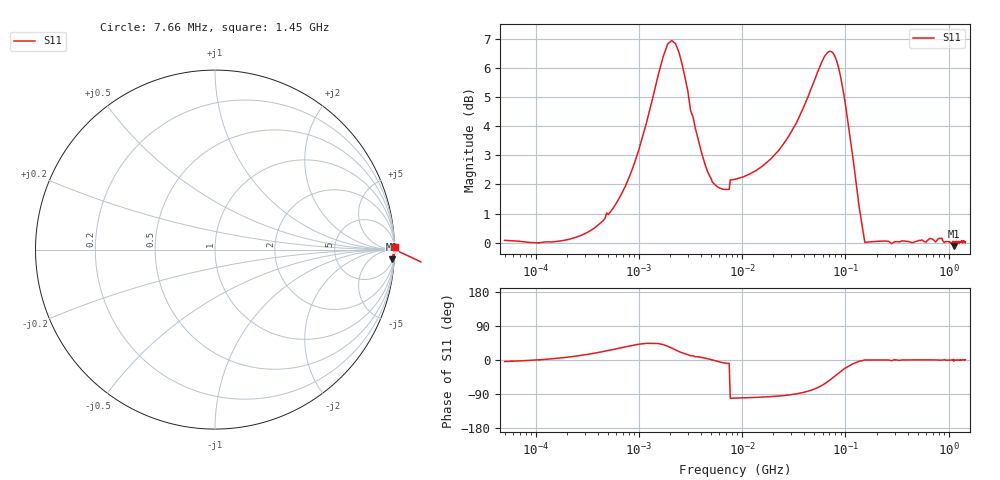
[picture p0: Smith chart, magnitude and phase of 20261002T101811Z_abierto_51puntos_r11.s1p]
! piloto_saltos / abierto_51puntos / r11
# HZ S RI R 50
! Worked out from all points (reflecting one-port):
!   251 points, 50 kHz to 1.45 GHz, reference 50 ohm
!   lowest |S11| = -0.1 dB at 1.117 GHz (marker M1), VSWR 145.43, Z = 444 - j1.74e+03 ohm
!   phase of S11 starts at -4 deg and turns +5 deg over the sweep
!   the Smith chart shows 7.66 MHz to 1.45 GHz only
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50000  1.007 -0.071
183000  1.003 0.1058
373000  1.008 0.3289
658000  1.021 0.6301
1180000  1.151 1.117
1720000  1.586 1.357
2080000  1.898 1.157
2440000  1.962 0.8061
3160000  1.652 0.3304
3520000  1.553 0.2263
5140000  1.271 0.00415
7480000  1.219 -0.1925
7660000  -0.24 -1.259
8560000  -0.2352 -1.264
1.9e7  -0.1606 -1.384
3.16e7  -0.0117 -1.577
4.78e7  0.3673 -1.824
5.68e7  0.6998 -1.886
6.4e7  1.004 -1.84
7.48e7  1.428 -1.568
8.74e7  1.657 -1.061
9.82e7  1.626 -0.6745
1.18e8  1.378 -0.2439
1.54e8  1.001 0.00023
4.06e8  1.005 5.4e-05
1.108e9  1.01 0.0322
1.117e9  0.9849 -0.0532
1.45e9  1.002 0.0128
